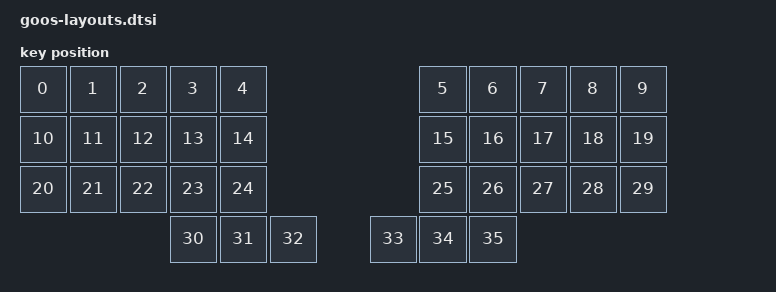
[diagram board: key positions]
/*
 * Physical layout for goos, required for ZMK Studio.
 * Key order = keymap binding order = default_transform map order.
 * Units: centi-keyunits (100 = 1u), rotation in centi-degrees.
 */

#include <physical_layouts.dtsi>
#include "goos-transform.dtsi"

/ {
	chosen {
		zmk,physical-layout = &default_layout;
	};

	default_layout: default_layout {
		compatible = "zmk,physical-layout";
		display-name = "Default";
		transform = <&default_transform>;
		/* no kscan: each build uses its own chosen zmk,kscan */

		keys  //                     w   h     x    y   rot  rx  ry
			/* row 0 */
			= <&key_physical_attrs 100 100     0    0     0   0   0>
			, <&key_physical_attrs 100 100   100    0     0   0   0>
			, <&key_physical_attrs 100 100   200    0     0   0   0>
			, <&key_physical_attrs 100 100   300    0     0   0   0>
			, <&key_physical_attrs 100 100   400    0     0   0   0>
			, <&key_physical_attrs 100 100   800    0     0   0   0>
			, <&key_physical_attrs 100 100   900    0     0   0   0>
			, <&key_physical_attrs 100 100  1000    0     0   0   0>
			, <&key_physical_attrs 100 100  1100    0     0   0   0>
			, <&key_physical_attrs 100 100  1200    0     0   0   0>
			/* row 1 */
			, <&key_physical_attrs 100 100     0  100     0   0   0>
			, <&key_physical_attrs 100 100   100  100     0   0   0>
			, <&key_physical_attrs 100 100   200  100     0   0   0>
			, <&key_physical_attrs 100 100   300  100     0   0   0>
			, <&key_physical_attrs 100 100   400  100     0   0   0>
			, <&key_physical_attrs 100 100   800  100     0   0   0>
			, <&key_physical_attrs 100 100   900  100     0   0   0>
			, <&key_physical_attrs 100 100  1000  100     0   0   0>
			, <&key_physical_attrs 100 100  1100  100     0   0   0>
			, <&key_physical_attrs 100 100  1200  100     0   0   0>
			/* row 2 */
			, <&key_physical_attrs 100 100     0  200     0   0   0>
			, <&key_physical_attrs 100 100   100  200     0   0   0>
			, <&key_physical_attrs 100 100   200  200     0   0   0>
			, <&key_physical_attrs 100 100   300  200     0   0   0>
			, <&key_physical_attrs 100 100   400  200     0   0   0>
			, <&key_physical_attrs 100 100   800  200     0   0   0>
			, <&key_physical_attrs 100 100   900  200     0   0   0>
			, <&key_physical_attrs 100 100  1000  200     0   0   0>
			, <&key_physical_attrs 100 100  1100  200     0   0   0>
			, <&key_physical_attrs 100 100  1200  200     0   0   0>
			/* thumbs */
			, <&key_physical_attrs 100 100   300  300     0   0   0>
			, <&key_physical_attrs 100 100   400  300     0   0   0>
			, <&key_physical_attrs 100 100   500  300     0   0   0>
			, <&key_physical_attrs 100 100   700  300     0   0   0>
			, <&key_physical_attrs 100 100   800  300     0   0   0>
			, <&key_physical_attrs 100 100   900  300     0   0   0>
			;
	};
};
